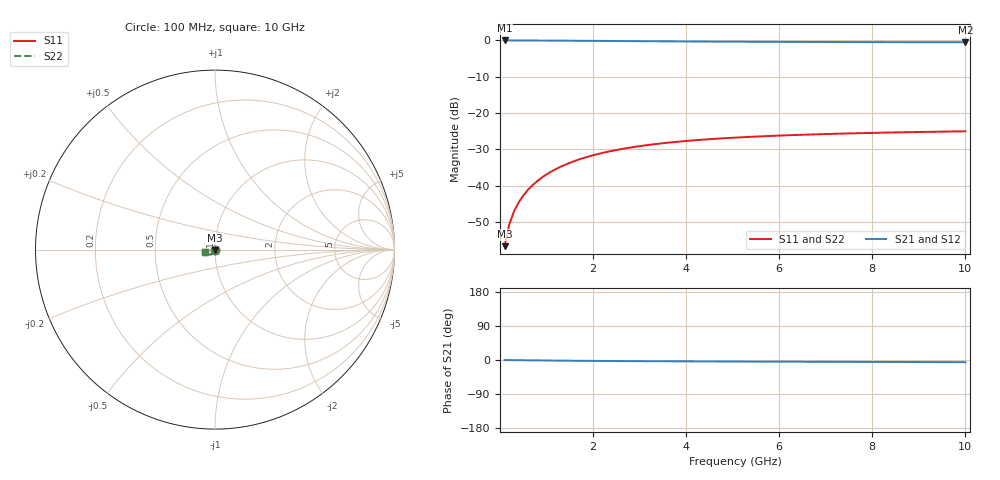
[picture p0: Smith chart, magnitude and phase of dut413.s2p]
! Touchstone file exported from HFSS 2024.1.0
!  File:  C:/UserFiles/LocalFiles/RDL_TSV_Batchsim/temp_TSV1_413_1779692671.aedt
!  Generated:  03:10:00 PM May 25, 2026
!  Design:  TSV1
!  Project:  temp_TSV1_413_1779692671
!  Setup:  Setup1
!  Solution:  Sweep
! Variables:
!  dtsv = 10.29um
!  hbump = 3um
!  htsv = 91.25um
!  lrdl = 252.1521522um
!  p = 40
!  p1 = 43.87um
!  t = 500um
!  trdl = 3um
!  wrdl = 24.89489489um
# GHz S MA R 50.000000
! Terminal data exported
! Port[1] = TSV22_T1
! Port[2] = TSV22_T2
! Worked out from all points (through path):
!   100 points, 100 MHz to 10 GHz, reference 50 ohm
!   highest |S21| = 0.00 dB at 100 MHz (marker M1); lowest = -0.5 dB at 10 GHz (marker M2)
!   lowest |S11| = -56.6 dB at 100 MHz (marker M3), VSWR 1.00, Z = 50 - j0.147 ohm
!   |S11| at or under -10 dB: start of sweep to end of sweep
!   |S22| runs from -56.6 to -25.0 dB; largest |S21 - S12| = 2.1e-15
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0.1  0.001472 -85.7  0.9998 -0.1  0.9998 -0.1  0.001472 -85.7
! Gamma 0 0 0 0
! Port Impedance 50 0 50 0
0.2  0.002934 -90.0  0.9997 -0.3  0.9997 -0.3  0.002934 -90.0
0.3  0.004397 -92.5  0.9994 -0.4  0.9994 -0.4  0.004397 -92.5
0.4  0.005857 -94.5  0.9991 -0.5  0.9991 -0.5  0.005857 -94.5
0.5  0.007309 -96.4  0.9988 -0.7  0.9988 -0.7  0.007309 -96.4
0.6  0.008747 -98.2  0.9983 -0.8  0.9983 -0.8  0.008747 -98.2
0.7  0.01017 -99.9  0.9978 -0.9  0.9978 -0.9  0.01017 -99.9
0.8  0.01157 -101.5  0.9972 -1.1  0.9972 -1.1  0.01157 -101.5
0.9  0.01295 -103.2  0.9966 -1.2  0.9966 -1.2  0.01295 -103.1
1.1  0.01564 -106.3  0.9952 -1.4  0.9952 -1.4  0.01564 -106.3
1.4  0.01946 -110.8  0.9927 -1.8  0.9927 -1.8  0.01946 -110.8
1.6  0.02185 -113.6  0.9909 -2.0  0.9909 -2.0  0.02185 -113.6
1.8  0.02412 -116.3  0.989 -2.2  0.989 -2.2  0.02412 -116.3
2.1  0.02727 -120.2  0.986 -2.4  0.986 -2.4  0.02727 -120.2
2.5  0.03103 -125.0  0.982 -2.7  0.982 -2.7  0.03103 -125.0
2.9  0.03431 -129.3  0.9781 -3.0  0.9781 -3.0  0.03431 -129.3
3.4  0.03782 -134.2  0.9736 -3.3  0.9736 -3.3  0.03782 -134.2
4.2  0.04231 -141.0  0.9671 -3.7  0.9671 -3.7  0.04231 -141.0
5.1  0.04612 -147.3  0.9611 -4.1  0.9611 -4.1  0.04612 -147.3
6.7  0.05079 -156.2  0.9533 -4.6  0.9533 -4.6  0.05079 -156.2
8.4  0.05402 -163.5  0.9476 -5.2  0.9476 -5.2  0.05402 -163.5
10  0.05615 -169.1  0.9438 -5.7  0.9438 -5.7  0.05615 -169.1
